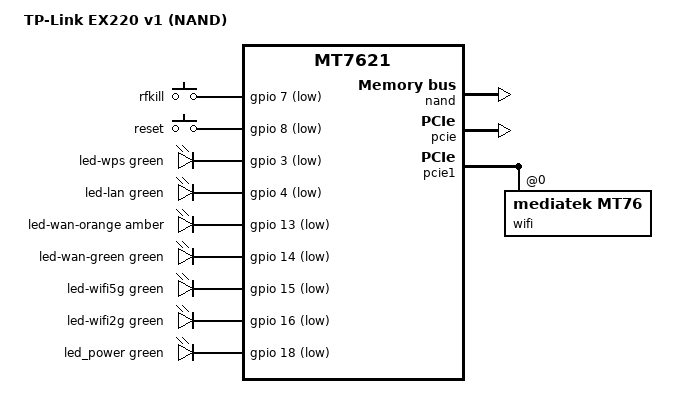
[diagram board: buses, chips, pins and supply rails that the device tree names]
// SPDX-License-Identifier: GPL-2.0-or-later OR MIT
/*
 * TP-Link EX220 v1, labelled "EX220(RU)MTS) Ver:1.30".
 *
 * Not to be confused with tplink,ex220-v1: that one is built around
 * 16 MB of SPI-NOR and uses a completely different flash layout. This
 * revision carries 128 MB of parallel NAND behind NMBM and is recognisable
 * from the bootloader output - U-Boot prints "NAND:  128 MiB" followed
 * by "NMBM has been successfully attached".
 */

#include "mt7621.dtsi"

#include <dt-bindings/gpio/gpio.h>
#include <dt-bindings/input/input.h>
#include <dt-bindings/leds/common.h>

/ {
	compatible = "tplink,ex220-v1-nand", "mediatek,mt7621-soc";
	model = "TP-Link EX220 v1 (NAND)";

	aliases {
		led-boot = &led_power;
		led-failsafe = &led_power;
		led-running = &led_power;
		led-upgrade = &led_power;
		label-mac-device = &gmac0;
	};

	chosen {
		bootargs = "console=ttyS0,115200";
	};

	keys {
		compatible = "gpio-keys";

		button-wps {
			label = "rfkill";
			gpios = <&gpio 7 GPIO_ACTIVE_LOW>;
			linux,code = <KEY_RFKILL>;
		};

		button-reset {
			label = "reset";
			gpios = <&gpio 8 GPIO_ACTIVE_LOW>;
			linux,code = <KEY_RESTART>;
		};
	};

	leds {
		compatible = "gpio-leds";

		led-wps {
			color = <LED_COLOR_ID_GREEN>;
			function = LED_FUNCTION_WPS;
			gpios = <&gpio 3 GPIO_ACTIVE_LOW>;
		};

		led-lan {
			color = <LED_COLOR_ID_GREEN>;
			function = LED_FUNCTION_LAN;
			gpios = <&gpio 4 GPIO_ACTIVE_LOW>;
		};

		led-wan-orange {
			color = <LED_COLOR_ID_AMBER>;
			function = LED_FUNCTION_WAN;
			gpios = <&gpio 13 GPIO_ACTIVE_LOW>;
		};

		led-wan-green {
			color = <LED_COLOR_ID_GREEN>;
			function = LED_FUNCTION_WAN;
			gpios = <&gpio 14 GPIO_ACTIVE_LOW>;
		};

		led-wifi5g {
			color = <LED_COLOR_ID_GREEN>;
			function = LED_FUNCTION_WLAN;
			function-enumerator = <5>;
			gpios = <&gpio 15 GPIO_ACTIVE_LOW>;
			linux,default-trigger = "phy1tpt";
		};

		led-wifi2g {
			color = <LED_COLOR_ID_GREEN>;
			function = LED_FUNCTION_WLAN;
			function-enumerator = <2>;
			gpios = <&gpio 16 GPIO_ACTIVE_LOW>;
			linux,default-trigger = "phy0tpt";
		};

		led_power: led-power {
			color = <LED_COLOR_ID_GREEN>;
			function = LED_FUNCTION_POWER;
			gpios = <&gpio 18 GPIO_ACTIVE_LOW>;
		};
	};
};

&nand {
	status = "okay";

	/*
	 * The vendor bootloader accesses the NAND through NMBM, whose
	 * management tables live in the topmost blocks.
	 */
	mediatek,nmbm;
	mediatek,bmt-remap-range = <0x000000 0x7800000>;

	partitions {
		compatible = "fixed-partitions";
		#address-cells = <1>;
		#size-cells = <1>;

		partition@0 {
			label = "boot";
			reg = <0x0 0x80000>;
			read-only;
		};

		partition@80000 {
			label = "boot_env";
			reg = <0x80000 0x80000>;
		};

		partition@100000 {
			label = "misc_ro";
			reg = <0x100000 0x600000>;
			read-only;

			nvmem-layout {
				compatible = "fixed-layout";
				#address-cells = <1>;
				#size-cells = <1>;

				macaddr_misc_ro_5c50bc: macaddr@5c50bc {
					compatible = "mac-base";
					reg = <0x5c50bc 0x6>;
					#nvmem-cell-cells = <1>;
				};
			};
		};

		partition@700000 {
			label = "misc_rw";
			reg = <0x700000 0x600000>;
		};

		/*
		 * The vendor firmware1 slot (0xd00000, 43 MB) is split in
		 * two: a raw kernel FIT at the start, which the bootloader
		 * loads from that fixed address without looking at partition
		 * names, and UBI for the rest.
		 */
		partition@d00000 {
			label = "kernel";
			reg = <0xd00000 0x400000>;
		};

		partition@1100000 {
			label = "ubi";
			reg = <0x1100000 0x2700000>;
		};

		partition@3800000 {
			label = "firmware2";
			reg = <0x3800000 0x2b00000>;
		};

		partition@6300000 {
			label = "bflag";
			reg = <0x6300000 0x600000>;
		};

		partition@6900000 {
			label = "misc_rw_bak";
			reg = <0x6900000 0x600000>;
		};

		partition@6f00000 {
			label = "misc_isp";
			reg = <0x6f00000 0x600000>;
		};
	};
};

&pcie {
	status = "okay";
};

&pcie1 {
	wifi@0,0 {
		compatible = "mediatek,mt76";
		reg = <0x0000 0 0 0 0>;
		#address-cells = <1>;
		#size-cells = <0>;
		mediatek,disable-radar-background;

		/*
		 * The calibration data is not reachable over nvmem: it sits
		 * inside a JFFS2 file in the misc_ro partition, so it is
		 * copied over the default EEPROM at boot by the target's
		 * 11-mt76-caldata hotplug script. Both bands still need
		 * their own address from here, otherwise the two PHYs end
		 * up bridged together with an identical MAC.
		 */
		band@0 {
			/* 2.4 GHz */
			reg = <0>;
			nvmem-cells = <&macaddr_misc_ro_5c50bc 2>;
			nvmem-cell-names = "mac-address";
		};

		band@1 {
			/* 5 GHz */
			reg = <1>;
			nvmem-cells = <&macaddr_misc_ro_5c50bc 3>;
			nvmem-cell-names = "mac-address";
		};
	};
};

&gmac0 {
	nvmem-cells = <&macaddr_misc_ro_5c50bc 0>;
	nvmem-cell-names = "mac-address";
};

&switch0 {
	ports {
		/* LAN1..LAN4 sockets are ports 0..3, the WAN socket is port 4 */
		port@0 {
			status = "okay";
			label = "lan1";
		};

		port@1 {
			status = "okay";
			label = "lan2";
		};

		port@2 {
			status = "okay";
			label = "lan3";
		};

		port@3 {
			status = "okay";
			label = "lan4";
		};

		port@4 {
			status = "okay";
			label = "wan";
		};
	};
};

&state_default {
	gpio {
		groups = "i2c", "uart3", "jtag", "wdt";
		function = "gpio";
	};
};
